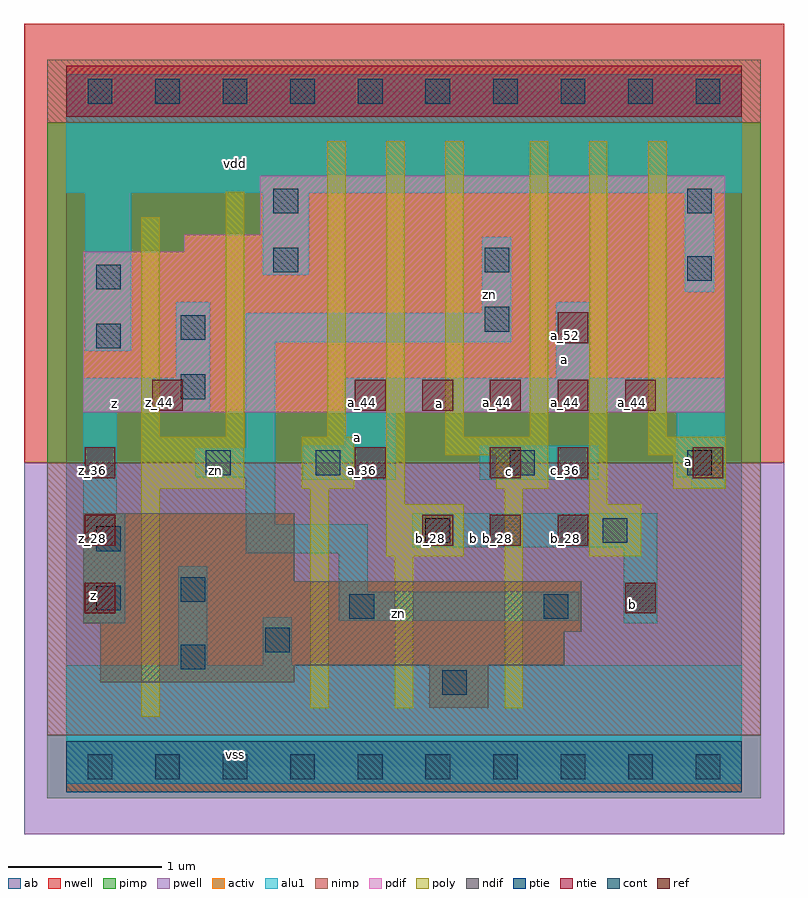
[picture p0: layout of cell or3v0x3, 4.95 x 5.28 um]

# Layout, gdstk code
import gdstk
lib = gdstk.Library(unit=1e-6, precision=2.5e-09)
def R(c, l, rs):  # rectangles x0, y0, x1, y1
    for r in rs: c.add(gdstk.rectangle(r[:2], r[2:], *l))
def A(c, l, x, y, w, h, nx, ny, dx, dy):  # array of equal rectangles
    R(c, l, [(x+i*dx, y+j*dy, x+i*dx+w, y+j*dy+h) for i in range(nx) for j in range(ny)])
ndif = (3, 0)
pdif = (4, 0)
ntie = (5, 0)
ptie = (6, 0)
ref = (24, 0)
cont = (25, 0)
pwell = (41, 0)
nwell = (42, 0)
activ = (43, 0)
pimp = (44, 0)
nimp = (45, 0)
poly = (46, 0)
alu1 = (49, 0)
ab = (63, 0)

or3v0x3 = lib.new_cell('or3v0x3')
R(or3v0x3, ndif, [(2.365,0.385,2.75,0.66), (0.22,0.55,1.485,0.66), (0.22,0.66,3.245,0.88), (0.22,0.88,3.355,0.935), (0.11,0.935,3.355,1.21), (0.11,1.21,1.485,1.65)])
R(or3v0x3, pdif, [(0.11,2.31,4.29,3.355), (0.77,3.355,4.29,3.465), (1.265,3.465,4.29,3.85)])
R(or3v0x3, ntie, [(0,4.235,4.4,4.565)])
R(or3v0x3, ptie, [(0,-0.165,4.4,0.165)])
A(or3v0x3, ref, 0.12, 1, 0.2, 0.2, 1, 3, 0, 0.44)
A(or3v0x3, ref, 2.32, 1.44, 0.2, 0.2, 3, 1, 0.44, 0)
A(or3v0x3, ref, 1.88, 2.32, 0.2, 0.2, 5, 1, 0.44, 0)
R(or3v0x3, ref, [(3.64,1,3.84,1.2), (1.88,1.88,2.08,2.08), (2.76,1.88,2.96,2.08), (3.2,1.88,3.4,2.08), (4.08,1.88,4.28,2.08), (0.56,2.32,0.76,2.52), (3.2,2.76,3.4,2.96)])
A(or3v0x3, cont, 0.14, -0.08, 0.16, 0.16, 10, 2, 0.44, 4.4)
R(or3v0x3, cont, [(2.45,0.47,2.61,0.63), (0.745,0.635,0.905,0.795), (1.295,0.745,1.455,0.905), (1.845,0.965,2.005,1.125), (3.11,0.965,3.27,1.125), (0.195,1.02,0.355,1.18), (0.745,1.075,0.905,1.235), (0.195,1.405,0.355,1.565), (2.34,1.46,2.5,1.62), (3.495,1.46,3.655,1.62), (0.91,1.9,1.07,2.06), (1.625,1.9,1.785,2.06), (2.89,1.9,3.05,2.06), (4.045,1.9,4.205,2.06), (0.745,2.395,0.905,2.555), (0.195,2.725,0.355,2.885), (0.745,2.78,0.905,2.94), (2.725,2.835,2.885,2.995), (0.195,3.11,0.355,3.27), (4.045,3.165,4.205,3.325), (1.35,3.22,1.51,3.38), (2.725,3.22,2.885,3.38), (1.35,3.605,1.51,3.765), (4.045,3.605,4.205,3.765)])
R(or3v0x3, pwell, [(-0.275,-0.44,4.675,1.98)])
R(or3v0x3, nwell, [(-0.275,1.98,4.675,4.84)])
R(or3v0x3, activ, [(0,-0.165,4.4,0.165), (2.365,0.385,2.75,0.66), (0.22,0.55,1.485,0.66), (0.22,0.66,3.245,0.88), (0.22,0.88,3.355,0.935), (0.11,0.935,3.355,1.21), (0.11,1.21,1.485,1.65), (0.11,2.31,4.29,3.355), (0.77,3.355,4.29,3.465), (1.265,3.465,4.29,3.85), (0,4.235,4.4,4.565)])
R(or3v0x3, pimp, [(-0.125,-0.205,4.525,0.205), (-0.125,1.98,4.525,4.195)])
R(or3v0x3, nimp, [(-0.125,0.205,4.525,1.98), (-0.125,4.195,4.525,4.605)])
R(or3v0x3, poly, [(0.49,0.325,0.61,1.81), (1.59,0.38,1.71,1.81), (2.14,0.38,2.26,1.37), (2.855,0.38,2.975,1.81), (2.085,1.37,2.59,1.71), (3.405,1.37,3.745,1.71), (2.085,1.71,2.205,4.075), (3.405,1.71,3.525,4.075), (0.49,1.81,1.16,2.15), (1.535,1.81,1.875,2.15), (2.8,1.81,3.14,2.03), (3.955,1.81,4.295,2.03), (2.47,2.03,3.14,2.15), (3.79,2.03,4.295,2.15), (0.49,2.15,0.61,3.58), (1.04,2.15,1.16,3.745), (1.7,2.15,1.82,4.075), (2.47,2.15,2.59,4.075), (3.02,2.15,3.14,4.075), (3.79,2.15,3.91,4.075)])
R(or3v0x3, alu1, [(0,-0.11,4.4,0.66), (0.73,0.66,0.92,1.305), (1.28,0.66,1.47,0.975), (0.11,0.935,0.385,1.65), (3.63,0.935,3.85,1.43), (1.775,0.95,3.34,1.14), (1.775,1.14,1.965,1.39), (1.17,1.39,1.965,1.58), (2.255,1.43,3.85,1.65), (1.17,1.58,1.36,1.885), (0.11,1.65,0.33,2.31), (4.07,1.815,4.29,1.885), (1.54,1.87,2.145,2.09), (2.695,1.87,3.465,2.09), (0.84,1.885,1.36,2.075), (3.975,1.885,4.29,2.31), (1.17,2.075,1.36,2.765), (1.815,2.09,2.145,2.31), (0.11,2.31,0.935,2.53), (1.815,2.31,4.29,2.53), (0.715,2.53,0.935,3.025), (3.19,2.53,3.41,3.025), (0.125,2.71,0.425,3.74), (1.17,2.765,2.9,2.955), (2.71,2.955,2.9,3.45), (4.03,3.095,4.22,3.74), (1.28,3.205,1.58,3.74), (0,3.74,4.4,4.51)])
R(or3v0x3, ab, [(0,0,4.4,4.4)])
or3v0x3.add(gdstk.Label('vss', (1.1,0.0825), layer=49, texttype=0))
or3v0x3.add(gdstk.Label('b', (3.685,1.0575), layer=49, texttype=0))
or3v0x3.add(gdstk.Label('zn', (2.165,0.9975), layer=49, texttype=0))
or3v0x3.add(gdstk.Label('b', (2.6525,1.485), layer=49, texttype=0))
or3v0x3.add(gdstk.Label('a', (4.0525,1.99), layer=49, texttype=0))
or3v0x3.add(gdstk.Label('c', (2.8875,1.925), layer=49, texttype=0))
or3v0x3.add(gdstk.Label('z', (0.1775,1.1125), layer=49, texttype=0))
or3v0x3.add(gdstk.Label('zn', (0.97,1.9325), layer=49, texttype=0))
or3v0x3.add(gdstk.Label('a', (1.8975,2.145), layer=49, texttype=0))
or3v0x3.add(gdstk.Label('a', (2.4325,2.365), layer=49, texttype=0))
or3v0x3.add(gdstk.Label('a', (3.245,2.6525), layer=49, texttype=0))
or3v0x3.add(gdstk.Label('z', (0.315,2.365), layer=49, texttype=0))
or3v0x3.add(gdstk.Label('zn', (2.7575,3.0775), layer=49, texttype=0))
or3v0x3.add(gdstk.Label('vdd', (1.1,3.9325), layer=49, texttype=0))
or3v0x3.add(gdstk.Label('z_44', (0.61,2.37), layer=24, texttype=0))
or3v0x3.add(gdstk.Label('a_36', (1.93,1.93), layer=24, texttype=0))
or3v0x3.add(gdstk.Label('a_44', (1.93,2.37), layer=24, texttype=0))
or3v0x3.add(gdstk.Label('z_20', (0.17,1.05), layer=24, texttype=0))
or3v0x3.add(gdstk.Label('z_28', (0.17,1.49), layer=24, texttype=0))
or3v0x3.add(gdstk.Label('z_36', (0.17,1.93), layer=24, texttype=0))
or3v0x3.add(gdstk.Label('b_28', (2.37,1.49), layer=24, texttype=0))
or3v0x3.add(gdstk.Label('a_44', (2.37,2.37), layer=24, texttype=0))
or3v0x3.add(gdstk.Label('b_28', (2.81,1.49), layer=24, texttype=0))
or3v0x3.add(gdstk.Label('c_36', (2.81,1.93), layer=24, texttype=0))
or3v0x3.add(gdstk.Label('a_44', (2.81,2.37), layer=24, texttype=0))
or3v0x3.add(gdstk.Label('b_28', (3.25,1.49), layer=24, texttype=0))
or3v0x3.add(gdstk.Label('c_36', (3.25,1.93), layer=24, texttype=0))
or3v0x3.add(gdstk.Label('a_44', (3.25,2.37), layer=24, texttype=0))
or3v0x3.add(gdstk.Label('a_52', (3.25,2.81), layer=24, texttype=0))
or3v0x3.add(gdstk.Label('b_20', (3.69,1.05), layer=24, texttype=0))
or3v0x3.add(gdstk.Label('a_44', (3.69,2.37), layer=24, texttype=0))
or3v0x3.add(gdstk.Label('a_36', (4.13,1.93), layer=24, texttype=0))

lib.write_gds('or3v0x3.gds')
